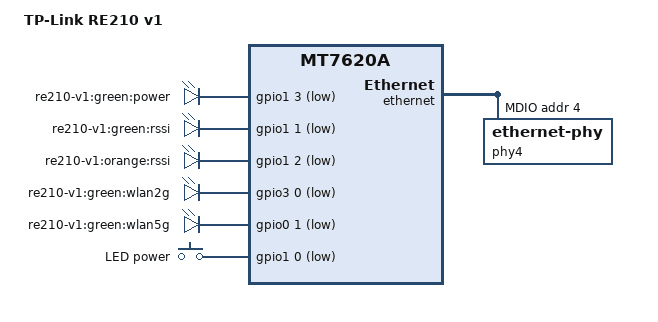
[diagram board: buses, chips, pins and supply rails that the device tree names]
// SPDX-License-Identifier: GPL-2.0-or-later OR MIT
/dts-v1/;

#include "mt7620a_tplink_re2x0-v1.dtsi"

#include <dt-bindings/gpio/gpio.h>
#include <dt-bindings/input/input.h>

/ {
	compatible = "tplink,re210-v1", "ralink,mt7620a-soc";
	model = "TP-Link RE210 v1";

	aliases {
		led-boot = &led_power;
		led-failsafe = &led_power;
		led-running = &led_power;
		led-upgrade = &led_power;
		label-mac-device = &ethernet;
	};

	leds {
		compatible = "gpio-leds";

		led_power: power {
			label = "re210-v1:green:power";
			gpios = <&gpio1 3 GPIO_ACTIVE_LOW>;
		};

		rssi1 {
			label = "re210-v1:green:rssi";
			gpios = <&gpio1 1 GPIO_ACTIVE_LOW>;
		};

		rssi2 {
			label = "re210-v1:orange:rssi";
			gpios = <&gpio1 2 GPIO_ACTIVE_LOW>;
		};

		wlan2g {
			label = "re210-v1:green:wlan2g";
			gpios = <&gpio3 0 GPIO_ACTIVE_LOW>;
			linux,default-trigger = "phy1tpt";
		};

		wlan5g {
			label = "re210-v1:green:wlan5g";
			gpios = <&gpio0 1 GPIO_ACTIVE_LOW>;
			linux,default-trigger = "phy0tpt";
		};
	};
};

&keys {
	led_power {
		label = "LED power";
		gpios = <&gpio1 0 GPIO_ACTIVE_LOW>;
		linux,code = <BTN_0>;
	};
};

&state_default {
	gpio {
		ralink,group = "i2c", "uartf", "wled", "spi refclk";
		ralink,function = "gpio";
	};
};

&gsw {
        mediatek,port4 = "gmac";
};

&ethernet {
	status = "okay";
	pinctrl-names = "default";
	pinctrl-0 = <&rgmii1_pins &rgmii2_pins &mdio_pins>;

	port@4 {
		status = "okay";
		phy-handle = <&phy4>;
		phy-mode = "rgmii";
	};

	mdio-bus {
		status = "okay";

		phy4: ethernet-phy@4 {
			reg = <4>;
			phy-mode = "rgmii";
		};
	};
};
